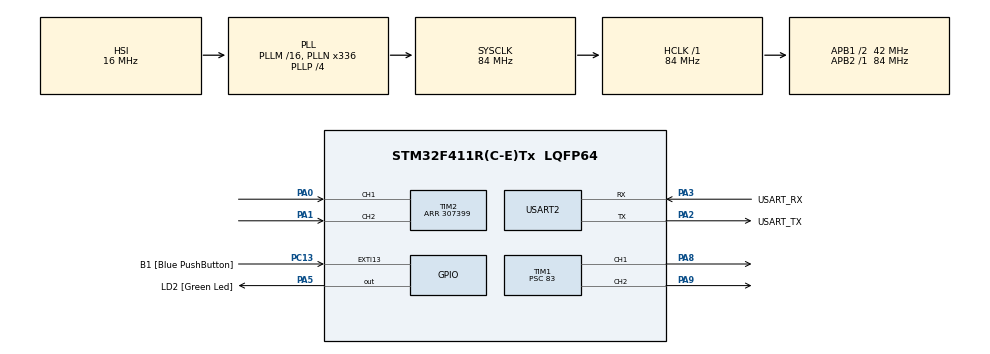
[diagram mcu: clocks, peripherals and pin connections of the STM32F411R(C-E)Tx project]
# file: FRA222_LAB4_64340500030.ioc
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Mcu.Family=STM32F4
Mcu.Name=STM32F411R(C-E)Tx
Mcu.Package=LQFP64
NVIC.PriorityGroup=NVIC_PRIORITYGROUP_0
PA0-WKUP.Signal=S_TIM2_CH1_ETR
PA1.Signal=S_TIM2_CH2
PA13.GPIO_Label=TMS
PA13.Mode=Trace_Asynchronous_SW
PA13.Signal=SYS_JTMS-SWDIO
PA14.GPIO_Label=TCK
PA14.Mode=Trace_Asynchronous_SW
PA14.Signal=SYS_JTCK-SWCLK
PA2.GPIO_Label=USART_TX
PA2.Mode=Asynchronous
PA2.Signal=USART2_TX
PA3.GPIO_Label=USART_RX
PA3.Mode=Asynchronous
PA3.Signal=USART2_RX
PA5.GPIO_Label=LD2 [Green Led]
PA5.Signal=GPIO_Output
PA8.Signal=S_TIM1_CH1
PA9.Signal=S_TIM1_CH2
PB3.GPIO_Label=SWO
PB3.Mode=Trace_Asynchronous_SW
PB3.Signal=SYS_JTDO-SWO
PC13-ANTI_TAMP.GPIO_Label=B1 [Blue PushButton]
PC13-ANTI_TAMP.GPIO_ModeDefaultEXTI=GPIO_MODE_IT_FALLING
PC13-ANTI_TAMP.Signal=GPXTI13
PC14-OSC32_IN.Mode=LSE-External-Oscillator
PC14-OSC32_IN.Signal=RCC_OSC32_IN
PC15-OSC32_OUT.Mode=LSE-External-Oscillator
PC15-OSC32_OUT.Signal=RCC_OSC32_OUT
PH0\ -\ OSC_IN.Mode=HSE-External-Clock-Source
PH0\ -\ OSC_IN.Signal=RCC_OSC_IN
PH1\ -\ OSC_OUT.Mode=HSE-External-Clock-Source
PH1\ -\ OSC_OUT.Signal=RCC_OSC_OUT
ProjectManager.HeapSize=0x200
ProjectManager.StackSize=0x400
ProjectManager.TargetToolchain=STM32CubeIDE
RCC.48MHZClocksFreq_Value=84000000
RCC.AHBFreq_Value=84000000
RCC.APB1CLKDivider=RCC_HCLK_DIV2
RCC.APB1Freq_Value=42000000
RCC.APB1TimFreq_Value=84000000
RCC.APB2Freq_Value=84000000
RCC.APB2TimFreq_Value=84000000
RCC.CortexFreq_Value=84000000
RCC.FLatency-AdvancedSettings=FLASH_LATENCY_2
RCC.HCLKFreq_Value=84000000
RCC.HSE_VALUE=8000000
RCC.HSI_VALUE=16000000
RCC.PLLN=336
RCC.PLLP=RCC_PLLP_DIV4
RCC.SYSCLKFreq_VALUE=84000000
RCC.SYSCLKSource=RCC_SYSCLKSOURCE_PLLCLK
RCC.VCOOutputFreq_Value=336000000
SH.S_TIM1_CH1.0=TIM1_CH1,PWM Generation1 CH1
SH.S_TIM1_CH2.0=TIM1_CH2,PWM Generation2 CH2
SH.S_TIM2_CH1_ETR.0=TIM2_CH1,Encoder_Interface
SH.S_TIM2_CH2.0=TIM2_CH2,Encoder_Interface
TIM1.Channel-PWM\ Generation1\ CH1=TIM_CHANNEL_1
TIM1.Channel-PWM\ Generation2\ CH2=TIM_CHANNEL_2
TIM1.Period=99
TIM1.Prescaler=83
TIM2.EncoderMode=TIM_ENCODERMODE_TI12
TIM2.Period=307399
USART2.VirtualMode=VM_ASYNC
VP_TIM1_VS_ClockSourceINT.Mode=Internal
board=NUCLEO-F411RE

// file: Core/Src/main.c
/* USER CODE BEGIN Header */
/**
  ******************************************************************************
  * @file           : main.c
  * @brief          : Main program body
  ******************************************************************************
  * @attention
  *
  * Copyright (c) 2023 STMicroelectronics.
  * All rights reserved.
  *
  * This software is licensed under terms that can be found in the LICENSE file
  * in the root directory of this software component.
  * If no LICENSE file comes with this software, it is provided AS-IS.
  *
  ******************************************************************************
  */
/* USER CODE END Header */
#include "main.h"

/* USER CODE BEGIN Includes */
//Tammasorn Rojanaakarapong
/* USER CODE END Includes */

TIM_HandleTypeDef htim1;
TIM_HandleTypeDef htim2;

UART_HandleTypeDef huart2;

/* USER CODE BEGIN PV */
//PID
float position = 0.0;
float setposition = 0.0;
float feedback = 0.0;

//float Kp = 1.0;
//float Ki = 0.0001;
//float Kd = 0.01;

double p, i, d, last_error;
/* USER CODE END PV */

void SystemClock_Config(void);
static void MX_GPIO_Init(void);
static void MX_USART2_UART_Init(void);
static void MX_TIM1_Init(void);
static void MX_TIM2_Init(void);
/* USER CODE BEGIN PFP */
double pid_control(int32_t error);
/* USER CODE END PFP */

int main(void)
{

  /* MCU Configuration--------------------------------------------------------*/

  /* Reset of all peripherals, Initializes the Flash interface and the Systick. */
  HAL_Init();

  /* Configure the system clock */
  SystemClock_Config();

  /* Initialize all configured peripherals */
  MX_GPIO_Init();
  MX_USART2_UART_Init();
  MX_TIM1_Init();
  MX_TIM2_Init();

  /* Infinite loop */
  /* USER CODE BEGIN WHILE */
  HAL_TIM_Encoder_Start(&htim2, TIM_CHANNEL_1|TIM_CHANNEL_2);

  HAL_TIM_Base_Start(&htim1);
  HAL_TIM_PWM_Start(&htim1, TIM_CHANNEL_1);
  HAL_TIM_PWM_Start(&htim1, TIM_CHANNEL_2);

  static uint32_t timestamp = 0;
  while (1)
  {
    /* USER CODE END WHILE */

    /* USER CODE BEGIN 3 */
	  if(HAL_GetTick() >= timestamp){
		  timestamp = HAL_GetTick()+10;
		  position = __HAL_TIM_GET_COUNTER(&htim2)*360.0/3072.0;
		  feedback = pid_control(setposition - position);

		  if(feedback > 100){feedback = 100;}
		  if(feedback < -100){feedback = -100;}

		  if(setposition - position > -0.5 && setposition - position < 0.5){
			  __HAL_TIM_SET_COMPARE(&htim1, TIM_CHANNEL_1, 0);
			  __HAL_TIM_SET_COMPARE(&htim1, TIM_CHANNEL_2, 0);
		  }
		  else if(position < setposition){
			  if(feedback < 8){feedback = 8;}
			  __HAL_TIM_SET_COMPARE(&htim1, TIM_CHANNEL_1, 0);
			  __HAL_TIM_SET_COMPARE(&htim1, TIM_CHANNEL_2, feedback);
		  }
		  else if(position > setposition){
			  if(feedback > -8){feedback = -8;}
			  __HAL_TIM_SET_COMPARE(&htim1, TIM_CHANNEL_1, feedback*-1);
			  __HAL_TIM_SET_COMPARE(&htim1, TIM_CHANNEL_2, 0);

		  }
		  else{
			  __HAL_TIM_SET_COMPARE(&htim1, TIM_CHANNEL_1, 0);
			  __HAL_TIM_SET_COMPARE(&htim1, TIM_CHANNEL_2, 0);
		  }
	   }
  }
  /* USER CODE END 3 */
}

void SystemClock_Config(void)
{
  RCC_OscInitTypeDef RCC_OscInitStruct = {0};
  RCC_ClkInitTypeDef RCC_ClkInitStruct = {0};

  /** Configure the main internal regulator output voltage
  */
  __HAL_RCC_PWR_CLK_ENABLE();
  __HAL_PWR_VOLTAGESCALING_CONFIG(PWR_REGULATOR_VOLTAGE_SCALE1);

  /** Initializes the RCC Oscillators according to the specified parameters
  * in the RCC_OscInitTypeDef structure.
  */
  RCC_OscInitStruct.OscillatorType = RCC_OSCILLATORTYPE_HSI;
  RCC_OscInitStruct.HSIState = RCC_HSI_ON;
  RCC_OscInitStruct.HSICalibrationValue = RCC_HSICALIBRATION_DEFAULT;
  RCC_OscInitStruct.PLL.PLLState = RCC_PLL_ON;
  RCC_OscInitStruct.PLL.PLLSource = RCC_PLLSOURCE_HSI;
  RCC_OscInitStruct.PLL.PLLM = 16;
  RCC_OscInitStruct.PLL.PLLN = 336;
  RCC_OscInitStruct.PLL.PLLP = RCC_PLLP_DIV4;
  RCC_OscInitStruct.PLL.PLLQ = 4;
  if (HAL_RCC_OscConfig(&RCC_OscInitStruct) != HAL_OK)
  {
    Error_Handler();
  }

  /** Initializes the CPU, AHB and APB buses clocks
  */
  RCC_ClkInitStruct.ClockType = RCC_CLOCKTYPE_HCLK|RCC_CLOCKTYPE_SYSCLK
                              |RCC_CLOCKTYPE_PCLK1|RCC_CLOCKTYPE_PCLK2;
  RCC_ClkInitStruct.SYSCLKSource = RCC_SYSCLKSOURCE_PLLCLK;
  RCC_ClkInitStruct.AHBCLKDivider = RCC_SYSCLK_DIV1;
  RCC_ClkInitStruct.APB1CLKDivider = RCC_HCLK_DIV2;
  RCC_ClkInitStruct.APB2CLKDivider = RCC_HCLK_DIV1;

  if (HAL_RCC_ClockConfig(&RCC_ClkInitStruct, FLASH_LATENCY_2) != HAL_OK)
  {
    Error_Handler();
  }
}

static void MX_TIM1_Init(void)
{

  TIM_ClockConfigTypeDef sClockSourceConfig = {0};
  TIM_MasterConfigTypeDef sMasterConfig = {0};
  TIM_OC_InitTypeDef sConfigOC = {0};
  TIM_BreakDeadTimeConfigTypeDef sBreakDeadTimeConfig = {0};

  htim1.Instance = TIM1;
  htim1.Init.Prescaler = 83;
  htim1.Init.CounterMode = TIM_COUNTERMODE_UP;
  htim1.Init.Period = 99;
  htim1.Init.ClockDivision = TIM_CLOCKDIVISION_DIV1;
  htim1.Init.RepetitionCounter = 0;
  htim1.Init.AutoReloadPreload = TIM_AUTORELOAD_PRELOAD_DISABLE;
  if (HAL_TIM_Base_Init(&htim1) != HAL_OK)
  {
    Error_Handler();
  }
  sClockSourceConfig.ClockSource = TIM_CLOCKSOURCE_INTERNAL;
  if (HAL_TIM_ConfigClockSource(&htim1, &sClockSourceConfig) != HAL_OK)
  {
    Error_Handler();
  }
  if (HAL_TIM_PWM_Init(&htim1) != HAL_OK)
  {
    Error_Handler();
  }
  sMasterConfig.MasterOutputTrigger = TIM_TRGO_RESET;
  sMasterConfig.MasterSlaveMode = TIM_MASTERSLAVEMODE_DISABLE;
  if (HAL_TIMEx_MasterConfigSynchronization(&htim1, &sMasterConfig) != HAL_OK)
  {
    Error_Handler();
  }
  sConfigOC.OCMode = TIM_OCMODE_PWM1;
  sConfigOC.Pulse = 0;
  sConfigOC.OCPolarity = TIM_OCPOLARITY_HIGH;
  sConfigOC.OCNPolarity = TIM_OCNPOLARITY_HIGH;
  sConfigOC.OCFastMode = TIM_OCFAST_DISABLE;
  sConfigOC.OCIdleState = TIM_OCIDLESTATE_RESET;
  sConfigOC.OCNIdleState = TIM_OCNIDLESTATE_RESET;
  if (HAL_TIM_PWM_ConfigChannel(&htim1, &sConfigOC, TIM_CHANNEL_1) != HAL_OK)
  {
    Error_Handler();
  }
  if (HAL_TIM_PWM_ConfigChannel(&htim1, &sConfigOC, TIM_CHANNEL_2) != HAL_OK)
  {
    Error_Handler();
  }
  sBreakDeadTimeConfig.OffStateRunMode = TIM_OSSR_DISABLE;
  sBreakDeadTimeConfig.OffStateIDLEMode = TIM_OSSI_DISABLE;
  sBreakDeadTimeConfig.LockLevel = TIM_LOCKLEVEL_OFF;
  sBreakDeadTimeConfig.DeadTime = 0;
  sBreakDeadTimeConfig.BreakState = TIM_BREAK_DISABLE;
  sBreakDeadTimeConfig.BreakPolarity = TIM_BREAKPOLARITY_HIGH;
  sBreakDeadTimeConfig.AutomaticOutput = TIM_AUTOMATICOUTPUT_DISABLE;
  if (HAL_TIMEx_ConfigBreakDeadTime(&htim1, &sBreakDeadTimeConfig) != HAL_OK)
  {
    Error_Handler();
  }
  HAL_TIM_MspPostInit(&htim1);

}

static void MX_TIM2_Init(void)
{

  TIM_Encoder_InitTypeDef sConfig = {0};
  TIM_MasterConfigTypeDef sMasterConfig = {0};

  htim2.Instance = TIM2;
  htim2.Init.Prescaler = 0;
  htim2.Init.CounterMode = TIM_COUNTERMODE_UP;
  htim2.Init.Period = 307399;
  htim2.Init.ClockDivision = TIM_CLOCKDIVISION_DIV1;
  htim2.Init.AutoReloadPreload = TIM_AUTORELOAD_PRELOAD_DISABLE;
  sConfig.EncoderMode = TIM_ENCODERMODE_TI12;
  sConfig.IC1Polarity = TIM_ICPOLARITY_RISING;
  sConfig.IC1Selection = TIM_ICSELECTION_DIRECTTI;
  sConfig.IC1Prescaler = TIM_ICPSC_DIV1;
  sConfig.IC1Filter = 0;
  sConfig.IC2Polarity = TIM_ICPOLARITY_RISING;
  sConfig.IC2Selection = TIM_ICSELECTION_DIRECTTI;
  sConfig.IC2Prescaler = TIM_ICPSC_DIV1;
  sConfig.IC2Filter = 0;
  if (HAL_TIM_Encoder_Init(&htim2, &sConfig) != HAL_OK)
  {
    Error_Handler();
  }
  sMasterConfig.MasterOutputTrigger = TIM_TRGO_RESET;
  sMasterConfig.MasterSlaveMode = TIM_MASTERSLAVEMODE_DISABLE;
  if (HAL_TIMEx_MasterConfigSynchronization(&htim2, &sMasterConfig) != HAL_OK)
  {
    Error_Handler();
  }

}

static void MX_USART2_UART_Init(void)
{

  huart2.Instance = USART2;
  huart2.Init.BaudRate = 115200;
  huart2.Init.WordLength = UART_WORDLENGTH_8B;
  huart2.Init.StopBits = UART_STOPBITS_1;
  huart2.Init.Parity = UART_PARITY_NONE;
  huart2.Init.Mode = UART_MODE_TX_RX;
  huart2.Init.HwFlowCtl = UART_HWCONTROL_NONE;
  huart2.Init.OverSampling = UART_OVERSAMPLING_16;
  if (HAL_UART_Init(&huart2) != HAL_OK)
  {
    Error_Handler();
  }

}

static void MX_GPIO_Init(void)
{
  GPIO_InitTypeDef GPIO_InitStruct = {0};

  /* GPIO Ports Clock Enable */
  __HAL_RCC_GPIOC_CLK_ENABLE();
  __HAL_RCC_GPIOH_CLK_ENABLE();
  __HAL_RCC_GPIOA_CLK_ENABLE();
  __HAL_RCC_GPIOB_CLK_ENABLE();

  /*Configure GPIO pin Output Level */
  HAL_GPIO_WritePin(LD2_GPIO_Port, LD2_Pin, GPIO_PIN_RESET);

  /*Configure GPIO pin : B1_Pin */
  GPIO_InitStruct.Pin = B1_Pin;
  GPIO_InitStruct.Mode = GPIO_MODE_IT_FALLING;
  GPIO_InitStruct.Pull = GPIO_NOPULL;
  HAL_GPIO_Init(B1_GPIO_Port, &GPIO_InitStruct);

  /*Configure GPIO pin : LD2_Pin */
  GPIO_InitStruct.Pin = LD2_Pin;
  GPIO_InitStruct.Mode = GPIO_MODE_OUTPUT_PP;
  GPIO_InitStruct.Pull = GPIO_NOPULL;
  GPIO_InitStruct.Speed = GPIO_SPEED_FREQ_LOW;
  HAL_GPIO_Init(LD2_GPIO_Port, &GPIO_InitStruct);

}

/* USER CODE BEGIN 4 */
double pid_control(int32_t error){
    double Kp = 1.7; //1.5
    double Ki = 0.000001;
    double Kd = 0.1;
    double res;
    p = error;
    i += error*0.01;
    d = (error-last_error)/0.01;
    last_error = error;
    return (Kp*p)+(Ki*i)+(Kd*d);
}
/* USER CODE END 4 */

void Error_Handler(void)
{
  __disable_irq();
  while (1)
  {
  }
}
